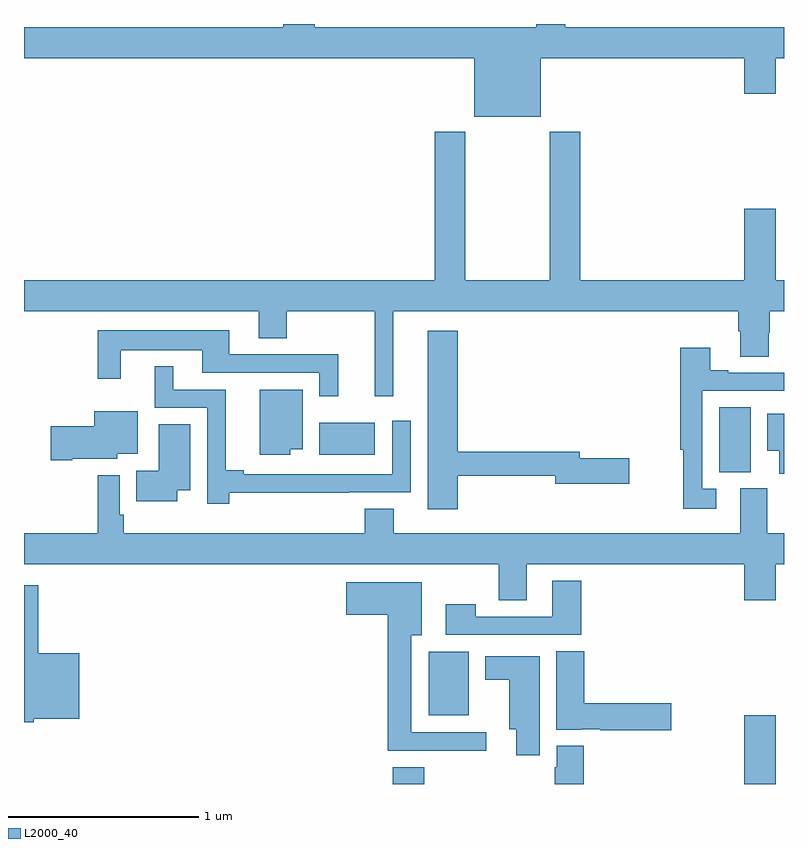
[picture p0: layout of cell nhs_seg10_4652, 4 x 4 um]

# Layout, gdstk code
import gdstk
lib = gdstk.Library(unit=1e-6, precision=1e-09)
def R(c, l, rs):  # rectangles x0, y0, x1, y1
    for r in rs: c.add(gdstk.rectangle(r[:2], r[2:], *l))
def P(c, l, *ps):  # polygons
    for p in ps: c.add(gdstk.Polygon(p, *l))
L2000_40 = (2000, 40)

nhs_seg10_4652 = lib.new_cell('nhs_seg10_4652')
R(nhs_seg10_4652, L2000_40, [(378.941,1292.5,379.106,1292.587), (380.792,1292.5,380.956,1292.863), (379.13,1292.861,379.342,1293.196), (380.66,1294.141,380.824,1294.484), (378.554,1294.232,378.847,1294.402)])
P(nhs_seg10_4652, L2000_40, [(379.72,1296.32),(380.792,1296.32),(380.792,1296.132),(380.956,1296.132),(380.956,1296.32),(381,1296.32),(381,1296.484),(379.849,1296.484),(379.849,1296.5),(379.697,1296.5),(379.697,1296.484),(378.53,1296.484),(378.53,1296.5),(378.365,1296.5),(378.365,1296.484),(377,1296.484),(377,1296.32),(379.37,1296.32),(379.37,1296.011),(379.72,1296.011)],
  [(378.944,1294.988),(380.759,1294.988),(380.759,1294.882),(380.771,1294.882),(380.771,1294.75),(380.919,1294.75),(380.919,1294.875),(380.924,1294.875),(380.924,1294.988),(381,1294.988),(381,1295.152),(380.956,1295.152),(380.956,1295.527),(380.792,1295.527),(380.792,1295.152),(379.928,1295.152),(379.928,1295.932),(379.768,1295.932),(379.768,1295.152),(379.323,1295.152),(379.323,1295.932),(379.163,1295.932),(379.163,1295.152),(377,1295.152),(377,1294.988),(378.236,1294.988),(378.236,1294.846),(378.384,1294.846),(378.384,1294.988),(378.845,1294.988),(378.845,1294.542),(378.944,1294.542)],
  [(378.653,1294.761),(378.079,1294.761),(378.079,1294.888),(377.388,1294.888),(377.388,1294.632),(377.509,1294.632),(377.509,1294.784),(377.939,1294.784),(377.939,1294.665),(378.555,1294.665),(378.555,1294.542),(378.653,1294.542)],
  [(379.283,1294.122),(379.796,1294.122),(379.796,1294.079),(380.185,1294.079),(380.185,1294.214),(379.924,1294.214),(379.924,1294.25),(379.283,1294.25),(379.283,1294.885),(379.124,1294.885),(379.124,1293.945),(379.283,1293.945)],
  [(380.644,1294.053),(380.571,1294.053),(380.571,1294.569),(381,1294.569),(381,1294.665),(380.707,1294.665),(380.707,1294.678),(380.611,1294.678),(380.611,1294.795),(380.455,1294.795),(380.455,1294.26),(380.47,1294.26),(380.47,1293.948),(380.644,1293.948)],
  [(378.08,1294.034),(378.71,1294.034),(378.71,1294.035),(379.035,1294.035),(379.035,1294.411),(378.939,1294.411),(378.939,1294.131),(378.157,1294.131),(378.157,1294.151),(378.062,1294.151),(378.062,1294.575),(377.785,1294.575),(377.785,1294.699),(377.687,1294.699),(377.687,1294.479),(377.964,1294.479),(377.964,1293.975),(378.08,1293.975)],
  [(378.4,1294.262),(378.466,1294.262),(378.466,1294.576),(378.242,1294.576),(378.242,1294.232),(378.4,1294.232)],
  [(377.254,1294.211),(377.49,1294.211),(377.49,1294.238),(377.599,1294.238),(377.599,1294.462),(377.369,1294.462),(377.369,1294.382),(377.142,1294.382),(377.142,1294.204),(377.254,1294.204)],
  [(381,1294.45),(380.912,1294.45),(380.912,1294.253),(380.975,1294.253),(380.975,1294.134),(381,1294.134)],
  [(377.806,1294.046),(377.875,1294.046),(377.875,1294.394),(377.708,1294.394),(377.708,1294.15),(377.59,1294.15),(377.59,1293.989),(377.806,1293.989)],
  [(379.498,1293.466),(379.645,1293.466),(379.645,1293.656),(380.792,1293.656),(380.792,1293.468),(380.956,1293.468),(380.956,1293.656),(381,1293.656),(381,1293.82),(380.911,1293.82),(380.911,1294.056),(380.771,1294.056),(380.771,1293.82),(378.946,1293.82),(378.946,1293.95),(378.794,1293.95),(378.794,1293.82),(377.525,1293.82),(377.525,1293.916),(377.505,1293.916),(377.505,1294.126),(377.389,1294.126),(377.389,1293.82),(377,1293.82),(377,1293.656),(379.498,1293.656)],
  [(379.934,1293.571),(379.781,1293.571),(379.781,1293.381),(379.377,1293.381),(379.377,1293.445),(379.221,1293.445),(379.221,1293.285),(379.934,1293.285)],
  [(379.432,1292.772),(379.039,1292.772),(379.039,1293.284),(379.093,1293.284),(379.093,1293.562),(378.696,1293.562),(378.696,1293.392),(378.914,1293.392),(378.914,1292.675),(379.432,1292.675)],
  [(377.052,1292.843),(377.29,1292.843),(377.29,1293.187),(377.075,1293.187),(377.075,1293.546),(377,1293.546),(377,1292.825),(377.052,1292.825)],
  [(380.407,1292.924),(379.949,1292.924),(379.949,1293.2),(379.802,1293.2),(379.802,1292.786),(379.932,1292.786),(379.932,1292.789),(380.032,1292.789),(380.032,1292.782),(380.407,1292.782)],
  [(379.714,1293.172),(379.427,1293.172),(379.427,1293.05),(379.553,1293.05),(379.553,1292.789),(379.592,1292.789),(379.592,1292.652),(379.714,1292.652)],
  [(379.946,1292.701),(379.805,1292.701),(379.805,1292.589),(379.793,1292.589),(379.793,1292.5),(379.946,1292.5)])

lib.write_gds('nhs_seg10_4652.gds')
